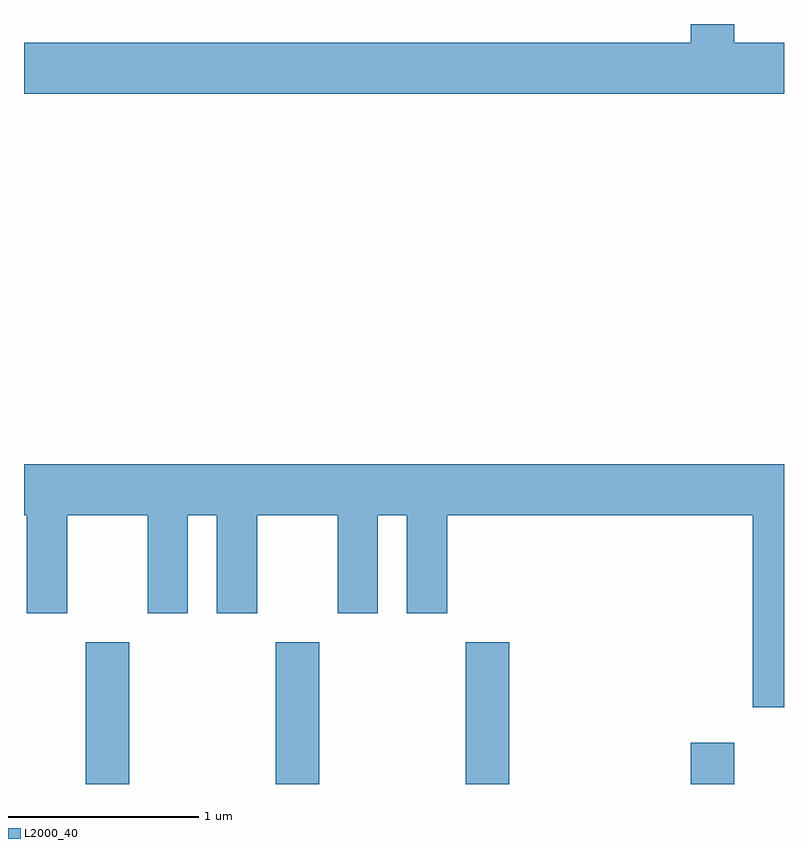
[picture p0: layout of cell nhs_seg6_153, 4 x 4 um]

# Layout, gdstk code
import gdstk
lib = gdstk.Library(unit=1e-6, precision=1e-09)
def R(c, l, rs):  # rectangles x0, y0, x1, y1
    for r in rs: c.add(gdstk.rectangle(r[:2], r[2:], *l))
def A(c, l, x, y, w, h, nx, ny, dx, dy):  # array of equal rectangles
    R(c, l, [(x+i*dx, y+j*dy, x+i*dx+w, y+j*dy+h) for i in range(nx) for j in range(ny)])
def P(c, l, *ps):  # polygons
    for p in ps: c.add(gdstk.Polygon(p, *l))
L2000_40 = (2000, 40)

nhs_seg6_153 = lib.new_cell('nhs_seg6_153')
A(nhs_seg6_153, L2000_40, 189.936, 1564.162, 0.228, 0.747, 3, 1, 1, 0)
R(nhs_seg6_153, L2000_40, [(193.121,1564.162,193.349,1564.379)])
P(nhs_seg6_153, L2000_40, [(193.611,1568.064),(193.349,1568.064),(193.349,1568.162),(193.121,1568.162),(193.121,1568.064),(189.611,1568.064),(189.611,1567.796),(193.611,1567.796)],
  [(193.611,1565.844),(189.611,1565.844),(189.611,1565.576),(189.626,1565.576),(189.626,1565.061),(189.839,1565.061),(189.839,1565.576),(190.261,1565.576),(190.261,1565.061),(190.474,1565.061),(190.474,1565.576),(190.626,1565.576),(190.626,1565.061),(190.839,1565.061),(190.839,1565.576),(191.261,1565.576),(191.261,1565.061),(191.474,1565.061),(191.474,1565.576),(191.626,1565.576),(191.626,1565.061),(191.839,1565.061),(191.839,1565.576),(193.446,1565.576),(193.446,1564.566),(193.611,1564.566)])

lib.write_gds('nhs_seg6_153.gds')
